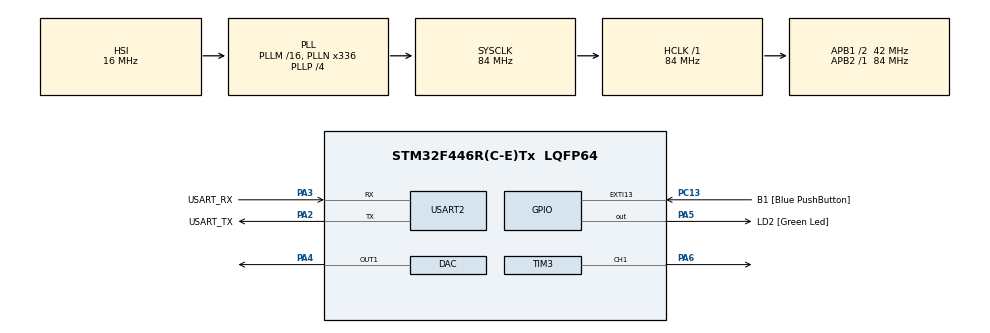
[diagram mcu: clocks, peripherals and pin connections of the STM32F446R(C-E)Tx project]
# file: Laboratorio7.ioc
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DAC.DAC_Trigger=DAC_TRIGGER_T6_TRGO
Dma.DAC1.0.Direction=DMA_MEMORY_TO_PERIPH
Dma.DAC1.0.FIFOMode=DMA_FIFOMODE_DISABLE
Dma.DAC1.0.Instance=DMA1_Stream5
Dma.DAC1.0.MemDataAlignment=DMA_MDATAALIGN_BYTE
Dma.DAC1.0.MemInc=DMA_MINC_ENABLE
Dma.DAC1.0.Mode=DMA_CIRCULAR
Dma.DAC1.0.PeriphDataAlignment=DMA_PDATAALIGN_BYTE
Dma.DAC1.0.PeriphInc=DMA_PINC_DISABLE
Dma.DAC1.0.Priority=DMA_PRIORITY_LOW
Dma.Request0=DAC1
Mcu.Family=STM32F4
Mcu.Name=STM32F446R(C-E)Tx
Mcu.Package=LQFP64
NVIC.DMA1_Stream5_IRQn=true\:0\:0\:false\:false\:true\:false\:true\:true
NVIC.PriorityGroup=NVIC_PRIORITYGROUP_0
PA13.GPIO_Label=TMS
PA13.Signal=SYS_JTMS-SWDIO
PA14.GPIO_Label=TCK
PA14.Signal=SYS_JTCK-SWCLK
PA2.GPIO_Label=USART_TX
PA2.Mode=Asynchronous
PA2.Signal=USART2_TX
PA3.GPIO_Label=USART_RX
PA3.Mode=Asynchronous
PA3.Signal=USART2_RX
PA4.Signal=COMP_DAC1_group
PA5.GPIO_Label=LD2 [Green Led]
PA5.Signal=GPIO_Output
PA6.Signal=S_TIM3_CH1
PB3.GPIO_Label=SWO
PB3.Signal=SYS_JTDO-SWO
PC13.GPIO_Label=B1 [Blue PushButton]
PC13.GPIO_ModeDefaultEXTI=GPIO_MODE_IT_FALLING
PC13.Signal=GPXTI13
PC14-OSC32_IN.Signal=RCC_OSC32_IN
PC15-OSC32_OUT.Signal=RCC_OSC32_OUT
PH0-OSC_IN.Signal=RCC_OSC_IN
PH1-OSC_OUT.Signal=RCC_OSC_OUT
ProjectManager.HeapSize=0x200
ProjectManager.StackSize=0x400
ProjectManager.TargetToolchain=STM32CubeIDE
RCC.AHBFreq_Value=84000000
RCC.APB1CLKDivider=RCC_HCLK_DIV2
RCC.APB1Freq_Value=42000000
RCC.APB1TimFreq_Value=84000000
RCC.APB2Freq_Value=84000000
RCC.APB2TimFreq_Value=84000000
RCC.CortexFreq_Value=84000000
RCC.FLatency-AdvancedSettings=FLASH_LATENCY_2
RCC.HCLKFreq_Value=84000000
RCC.HSE_VALUE=8000000
RCC.HSI_VALUE=16000000
RCC.LSE_VALUE=32768
RCC.PLLN=336
RCC.PLLP=RCC_PLLP_DIV4
RCC.SYSCLKFreq_VALUE=84000000
RCC.SYSCLKSource=RCC_SYSCLKSOURCE_PLLCLK
RCC.USBFreq_Value=168000000
RCC.VCOOutputFreq_Value=336000000
SH.COMP_DAC1_group.0=DAC_OUT1,DAC_OUT1
SH.S_TIM3_CH1.0=TIM3_CH1,PWM Generation1 CH1
TIM3.AutoReloadPreload=TIM_AUTORELOAD_PRELOAD_ENABLE
TIM3.Channel-PWM\ Generation1\ CH1=TIM_CHANNEL_1
TIM3.Period=999
TIM3.Prescaler=83
TIM3.Pulse-PWM\ Generation1\ CH1=500
TIM6.Period=999
TIM6.TIM_MasterOutputTrigger=TIM_TRGO_UPDATE
USART2.VirtualMode=VM_ASYNC
VP_TIM3_VS_ClockSourceINT.Mode=Internal
VP_TIM6_VS_ClockSourceINT.Mode=Enable_Timer
board=NUCLEO-F446RE

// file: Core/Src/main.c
/* USER CODE BEGIN Header */
/**
  ******************************************************************************
  * @file           : main.c
  * @brief          : Main program body
  ******************************************************************************
  * @attention
  *
  * Copyright (c) 2026 STMicroelectronics.
  * All rights reserved.
  *
  * This software is licensed under terms that can be found in the LICENSE file
  * in the root directory of this software component.
  * If no LICENSE file comes with this software, it is provided AS-IS.
  *
  ******************************************************************************
  */
/* USER CODE END Header */
#include "main.h"

/* USER CODE BEGIN Includes */
#include <stdio.h>
#include <string.h>
/* USER CODE END Includes */

/* USER CODE BEGIN PTD */
typedef struct
{
    uint16_t frequency_hz;  /* 0 significa silencio */
    uint16_t duration_ms;
} note_t;
/* USER CODE END PTD */

DAC_HandleTypeDef hdac;
DMA_HandleTypeDef hdma_dac1;

TIM_HandleTypeDef htim3;
TIM_HandleTypeDef htim6;

UART_HandleTypeDef huart2;

void SystemClock_Config(void);
static void MX_GPIO_Init(void);
static void MX_DMA_Init(void);
static void MX_TIM3_Init(void);
static void MX_USART2_UART_Init(void);
static void MX_DAC_Init(void);
static void MX_TIM6_Init(void);
/* USER CODE BEGIN PFP */
static void UART_Print(const char *msg);
static void Show_Menu(void);
static uint8_t UART_ReadCommand(uint32_t timeout_ms);
static void PWM_SetFrequency(uint16_t freq_hz);
static void PWM_Stop(void);
static void Play_Note(uint16_t freq_hz, uint16_t duration_ms);
static void Play_ImperialMarch(void);
static void DAC_SetFrequency(uint16_t freq_hz);
static void DAC_Silence(void);
static void DAC_Play_Note(uint16_t freq_hz, uint16_t duration_ms);
static void Play_HesAPirate(void);
/* USER CODE END PFP */

/* USER CODE BEGIN 0 */
#define TIM3_COUNTER_CLOCK_HZ  1000000U

/* Frecuencias de las notas musicales en Hz */
#define NOTE_F4    349U
#define NOTE_FS4   370U
#define NOTE_GS4   415U
#define NOTE_A4    440U
#define NOTE_AS4   466U
#define NOTE_C5    523U
#define NOTE_CS5   554U
#define NOTE_E5    659U
#define NOTE_F5    698U
#define NOTE_REST  0U

#define AUDIO1_TOTAL_MS  10000U

static const note_t imperial_march[] =
{
    {NOTE_A4,   500}, {NOTE_A4,   500}, {NOTE_A4,   500},
    {NOTE_F4,   350}, {NOTE_REST,  50}, {NOTE_C5,   150},
    {NOTE_A4,   500}, {NOTE_F4,   350}, {NOTE_REST,  50},
    {NOTE_C5,   150}, {NOTE_A4,   650},

    {NOTE_REST, 100},

    {NOTE_E5,   500}, {NOTE_E5,   500}, {NOTE_E5,   500},
    {NOTE_F5,   350}, {NOTE_REST,  50}, {NOTE_C5,   150},
    {NOTE_GS4,  500}, {NOTE_F4,   350}, {NOTE_REST,  50},
    {NOTE_C5,   150}, {NOTE_A4,   650},

    {NOTE_REST, 200}
};

#define IMPERIAL_MARCH_LEN \
    (sizeof(imperial_march) / sizeof(imperial_march[0]))

static void UART_Print(const char *msg)
{
    HAL_UART_Transmit(
        &huart2,
        (uint8_t *)msg,
        (uint16_t)strlen(msg),
        HAL_MAX_DELAY
    );
}

static void Show_Menu(void)
{
    UART_Print(
        "\r\n"
        "=========================================\r\n"
        "   Laboratorio 7 \r\n"
        "=========================================\r\n"
        " [1] Reproducir Cancion 1 \r\n"
    	" [2] Reproducir Cancion 2 \r\n"
        "-----------------------------------------\r\n"
        " Ingrese un comando y presione ENTER\r\n"
        "=========================================\r\n"
        "> "
    );
}

static uint8_t UART_ReadCommand(uint32_t timeout_ms)
{
    uint8_t rx = 0;

    if (HAL_UART_Receive(&huart2, &rx, 1, timeout_ms) == HAL_OK)
    {
        return rx;
    }

    return 0;
}

static void PWM_Stop(void)
{
    HAL_TIM_PWM_Stop(&htim3, TIM_CHANNEL_1);
}

static void PWM_SetFrequency(uint16_t freq_hz)
{
    uint32_t arr;

    if (freq_hz == NOTE_REST)
    {
        PWM_Stop();
        return;
    }

    arr = (TIM3_COUNTER_CLOCK_HZ / freq_hz) - 1U;

    __HAL_TIM_SET_AUTORELOAD(&htim3, arr);
    __HAL_TIM_SET_COMPARE(
        &htim3,
        TIM_CHANNEL_1,
        (arr + 1U) / 2U
    );
    __HAL_TIM_SET_COUNTER(&htim3, 0U);

    HAL_TIM_PWM_Start(&htim3, TIM_CHANNEL_1);
}

static void Play_Note(uint16_t freq_hz, uint16_t duration_ms)
{
    PWM_SetFrequency(freq_hz);
    HAL_Delay(duration_ms);
}

static void Play_ImperialMarch(void)
{
    uint32_t start;
    uint32_t idx = 0;

    UART_Print(
        "\r\nReproduciendo Audio 1 (Imperial March)...\r\n"
    );

    start = HAL_GetTick();

    while ((HAL_GetTick() - start) < AUDIO1_TOTAL_MS)
    {
        Play_Note(
            imperial_march[idx].frequency_hz,
            imperial_march[idx].duration_ms
        );

        idx = (idx + 1U) % IMPERIAL_MARCH_LEN;
    }

    PWM_Stop();

    UART_Print("Reproduccion finalizada.\r\n");
}
/* ---------- Audio 2: He's a Pirate (DAC por DDS) ---------- */

static const uint8_t sine_wave_lut[32] = {
    128, 153, 177, 199, 218, 234, 245, 253, 255, 253, 245, 234, 218, 199, 177, 153,
    128, 103, 79, 57, 38, 22, 11, 3, 1, 3, 11, 22, 38, 57, 79, 103
};
#define SINE_LUT_SIZE  32U

/* Reloj de TIM6: mismo APB1 x2 que TIM3 en este proyecto -> 84 MHz.
 * Si cambias SystemClock_Config(), recalcula este valor. */
#define TIM6_CLOCK_HZ   84000000UL

static uint8_t dac_playing = 0;

#define NOTE_B4   494U
#define NOTE_C5b  523U
#define NOTE_D5   587U
#define NOTE_E5   659U
#define NOTE_FS5  740U
#define NOTE_G5   784U
#define NOTE_A5   880U

#define AUDIO2_TOTAL_MS  10000U

static const note_t hes_a_pirate[] = {
    {NOTE_E5,   180}, {NOTE_G5,   180}, {NOTE_A5,   360},
    {NOTE_REST,  60},

    {NOTE_A5,   180}, {NOTE_G5,   180}, {NOTE_FS5,  360},
    {NOTE_E5,   180}, {NOTE_D5,   180}, {NOTE_E5,   360},
    {NOTE_REST,  60},

    {NOTE_FS5,  180}, {NOTE_A5,   180}, {NOTE_G5,   360},
    {NOTE_FS5,  180}, {NOTE_E5,   180}, {NOTE_D5,   360},
    {NOTE_REST,  60},

    {NOTE_E5,   180}, {NOTE_G5,   180}, {NOTE_A5,   360},
    {NOTE_B4,   180}, {NOTE_D5,   180}, {NOTE_E5,   360},
    {NOTE_REST, 120},

    {NOTE_FS5,  180}, {NOTE_G5,   180}, {NOTE_A5,   360},
    {NOTE_G5,   180}, {NOTE_FS5,  180}, {NOTE_E5,   360},
    {NOTE_D5,   180}, {NOTE_E5,   180}, {NOTE_FS5,  360},
    {NOTE_REST, 120}
};
#define HES_A_PIRATE_LEN (sizeof(hes_a_pirate) / sizeof(hes_a_pirate[0]))

static void DAC_SetFrequency(uint16_t freq_hz)
{
    uint32_t update_rate = (uint32_t)freq_hz * SINE_LUT_SIZE;
    uint32_t arr = (TIM6_CLOCK_HZ / update_rate) - 1U;

    __HAL_TIM_SET_AUTORELOAD(&htim6, arr);
    __HAL_TIM_SET_COUNTER(&htim6, 0U);

    if (!dac_playing) {
        HAL_TIM_Base_Start(&htim6);
        HAL_DAC_Start_DMA(&hdac, DAC_CHANNEL_1, (uint32_t *)sine_wave_lut,
                           SINE_LUT_SIZE, DAC_ALIGN_8B_R);
        dac_playing = 1;
    }
}

static void DAC_Silence(void)
{
    if (dac_playing) {
        HAL_DAC_Stop_DMA(&hdac, DAC_CHANNEL_1);
        HAL_TIM_Base_Stop(&htim6);
        dac_playing = 0;
    }
    HAL_DAC_SetValue(&hdac, DAC_CHANNEL_1, DAC_ALIGN_8B_R, 128);
    HAL_DAC_Start(&hdac, DAC_CHANNEL_1);
}

static void DAC_Play_Note(uint16_t freq_hz, uint16_t duration_ms)
{
    if (freq_hz == 0) {
        DAC_Silence();
    } else {
        DAC_SetFrequency(freq_hz);
    }
    HAL_Delay(duration_ms);
}

static void Play_HesAPirate(void)
{
    UART_Print("\r\nReproduciendo Audio 2 (He's a Pirate)...\r\n");
    uint32_t start = HAL_GetTick();
    uint32_t idx = 0;

    while ((HAL_GetTick() - start) < AUDIO2_TOTAL_MS) {
        DAC_Play_Note(hes_a_pirate[idx].frequency_hz, hes_a_pirate[idx].duration_ms);
        idx = (idx + 1) % HES_A_PIRATE_LEN;
    }
    DAC_Silence();
    HAL_DAC_Stop(&hdac, DAC_CHANNEL_1);
    UART_Print("Reproduccion finalizada.\r\n");
}
/* USER CODE END 0 */

int main(void)
{

  /* MCU Configuration--------------------------------------------------------*/

  /* Reset of all peripherals, Initializes the Flash interface and the Systick. */
  HAL_Init();

  /* Configure the system clock */
  SystemClock_Config();

  /* Initialize all configured peripherals */
  MX_GPIO_Init();
  MX_TIM3_Init();
  MX_USART2_UART_Init();
  MX_DMA_Init();
  MX_DAC_Init();
  MX_TIM6_Init();
  /* USER CODE BEGIN 2 */
  PWM_Stop();
  Show_Menu();
  /* USER CODE END 2 */

  /* Infinite loop */
  /* USER CODE BEGIN WHILE */
  while (1)
  {
	  uint8_t cmd = UART_ReadCommand(20);

	      if (cmd == '1')
	      {
	          Play_ImperialMarch();
	          Show_Menu();
	      }
	      else if (cmd == '2')
	      {
	          Play_HesAPirate();
	          Show_Menu();
	      }
	      else if ((cmd != 0) && (cmd != '\r') && (cmd != '\n'))
	      {
	          UART_Print("\r\nComando no valido.\r\n");
	          Show_Menu();
	      }

    /* USER CODE END WHILE */

  }
}

void SystemClock_Config(void)
{
  RCC_OscInitTypeDef RCC_OscInitStruct = {0};
  RCC_ClkInitTypeDef RCC_ClkInitStruct = {0};

  /** Configure the main internal regulator output voltage
  */
  __HAL_RCC_PWR_CLK_ENABLE();
  __HAL_PWR_VOLTAGESCALING_CONFIG(PWR_REGULATOR_VOLTAGE_SCALE3);

  /** Initializes the RCC Oscillators according to the specified parameters
  * in the RCC_OscInitTypeDef structure.
  */
  RCC_OscInitStruct.OscillatorType = RCC_OSCILLATORTYPE_HSI;
  RCC_OscInitStruct.HSIState = RCC_HSI_ON;
  RCC_OscInitStruct.HSICalibrationValue = RCC_HSICALIBRATION_DEFAULT;
  RCC_OscInitStruct.PLL.PLLState = RCC_PLL_ON;
  RCC_OscInitStruct.PLL.PLLSource = RCC_PLLSOURCE_HSI;
  RCC_OscInitStruct.PLL.PLLM = 16;
  RCC_OscInitStruct.PLL.PLLN = 336;
  RCC_OscInitStruct.PLL.PLLP = RCC_PLLP_DIV4;
  RCC_OscInitStruct.PLL.PLLQ = 2;
  RCC_OscInitStruct.PLL.PLLR = 2;
  if (HAL_RCC_OscConfig(&RCC_OscInitStruct) != HAL_OK)
  {
    Error_Handler();
  }

  /** Initializes the CPU, AHB and APB buses clocks
  */
  RCC_ClkInitStruct.ClockType = RCC_CLOCKTYPE_HCLK|RCC_CLOCKTYPE_SYSCLK
                              |RCC_CLOCKTYPE_PCLK1|RCC_CLOCKTYPE_PCLK2;
  RCC_ClkInitStruct.SYSCLKSource = RCC_SYSCLKSOURCE_PLLCLK;
  RCC_ClkInitStruct.AHBCLKDivider = RCC_SYSCLK_DIV1;
  RCC_ClkInitStruct.APB1CLKDivider = RCC_HCLK_DIV2;
  RCC_ClkInitStruct.APB2CLKDivider = RCC_HCLK_DIV1;

  if (HAL_RCC_ClockConfig(&RCC_ClkInitStruct, FLASH_LATENCY_2) != HAL_OK)
  {
    Error_Handler();
  }
}

static void MX_DAC_Init(void)
{

  DAC_ChannelConfTypeDef sConfig = {0};

  /** DAC Initialization
  */
  hdac.Instance = DAC;
  if (HAL_DAC_Init(&hdac) != HAL_OK)
  {
    Error_Handler();
  }

  /** DAC channel OUT1 config
  */
  sConfig.DAC_Trigger = DAC_TRIGGER_T6_TRGO;
  sConfig.DAC_OutputBuffer = DAC_OUTPUTBUFFER_ENABLE;
  if (HAL_DAC_ConfigChannel(&hdac, &sConfig, DAC_CHANNEL_1) != HAL_OK)
  {
    Error_Handler();
  }

}

static void MX_TIM3_Init(void)
{

  TIM_ClockConfigTypeDef sClockSourceConfig = {0};
  TIM_MasterConfigTypeDef sMasterConfig = {0};
  TIM_OC_InitTypeDef sConfigOC = {0};

  htim3.Instance = TIM3;
  htim3.Init.Prescaler = 83;
  htim3.Init.CounterMode = TIM_COUNTERMODE_UP;
  htim3.Init.Period = 999;
  htim3.Init.ClockDivision = TIM_CLOCKDIVISION_DIV1;
  htim3.Init.AutoReloadPreload = TIM_AUTORELOAD_PRELOAD_ENABLE;
  if (HAL_TIM_Base_Init(&htim3) != HAL_OK)
  {
    Error_Handler();
  }
  sClockSourceConfig.ClockSource = TIM_CLOCKSOURCE_INTERNAL;
  if (HAL_TIM_ConfigClockSource(&htim3, &sClockSourceConfig) != HAL_OK)
  {
    Error_Handler();
  }
  if (HAL_TIM_PWM_Init(&htim3) != HAL_OK)
  {
    Error_Handler();
  }
  sMasterConfig.MasterOutputTrigger = TIM_TRGO_RESET;
  sMasterConfig.MasterSlaveMode = TIM_MASTERSLAVEMODE_DISABLE;
  if (HAL_TIMEx_MasterConfigSynchronization(&htim3, &sMasterConfig) != HAL_OK)
  {
    Error_Handler();
  }
  sConfigOC.OCMode = TIM_OCMODE_PWM1;
  sConfigOC.Pulse = 500;
  sConfigOC.OCPolarity = TIM_OCPOLARITY_HIGH;
  sConfigOC.OCFastMode = TIM_OCFAST_DISABLE;
  if (HAL_TIM_PWM_ConfigChannel(&htim3, &sConfigOC, TIM_CHANNEL_1) != HAL_OK)
  {
    Error_Handler();
  }
  HAL_TIM_MspPostInit(&htim3);

}

static void MX_TIM6_Init(void)
{

  TIM_MasterConfigTypeDef sMasterConfig = {0};

  htim6.Instance = TIM6;
  htim6.Init.Prescaler = 0;
  htim6.Init.CounterMode = TIM_COUNTERMODE_UP;
  htim6.Init.Period = 999;
  htim6.Init.AutoReloadPreload = TIM_AUTORELOAD_PRELOAD_DISABLE;
  if (HAL_TIM_Base_Init(&htim6) != HAL_OK)
  {
    Error_Handler();
  }
  sMasterConfig.MasterOutputTrigger = TIM_TRGO_UPDATE;
  sMasterConfig.MasterSlaveMode = TIM_MASTERSLAVEMODE_DISABLE;
  if (HAL_TIMEx_MasterConfigSynchronization(&htim6, &sMasterConfig) != HAL_OK)
  {
    Error_Handler();
  }

}

static void MX_USART2_UART_Init(void)
{

  huart2.Instance = USART2;
  huart2.Init.BaudRate = 115200;
  huart2.Init.WordLength = UART_WORDLENGTH_8B;
  huart2.Init.StopBits = UART_STOPBITS_1;
  huart2.Init.Parity = UART_PARITY_NONE;
  huart2.Init.Mode = UART_MODE_TX_RX;
  huart2.Init.HwFlowCtl = UART_HWCONTROL_NONE;
  huart2.Init.OverSampling = UART_OVERSAMPLING_16;
  if (HAL_UART_Init(&huart2) != HAL_OK)
  {
    Error_Handler();
  }

}

static void MX_DMA_Init(void)
{

  /* DMA controller clock enable */
  __HAL_RCC_DMA1_CLK_ENABLE();

  /* DMA interrupt init */
  /* DMA1_Stream5_IRQn interrupt configuration */
  HAL_NVIC_SetPriority(DMA1_Stream5_IRQn, 0, 0);
  HAL_NVIC_EnableIRQ(DMA1_Stream5_IRQn);

}

static void MX_GPIO_Init(void)
{
  GPIO_InitTypeDef GPIO_InitStruct = {0};

  /* GPIO Ports Clock Enable */
  __HAL_RCC_GPIOC_CLK_ENABLE();
  __HAL_RCC_GPIOH_CLK_ENABLE();
  __HAL_RCC_GPIOA_CLK_ENABLE();
  __HAL_RCC_GPIOB_CLK_ENABLE();

  /*Configure GPIO pin Output Level */
  HAL_GPIO_WritePin(LD2_GPIO_Port, LD2_Pin, GPIO_PIN_RESET);

  /*Configure GPIO pin : B1_Pin */
  GPIO_InitStruct.Pin = B1_Pin;
  GPIO_InitStruct.Mode = GPIO_MODE_IT_FALLING;
  GPIO_InitStruct.Pull = GPIO_NOPULL;
  HAL_GPIO_Init(B1_GPIO_Port, &GPIO_InitStruct);

  /*Configure GPIO pin : LD2_Pin */
  GPIO_InitStruct.Pin = LD2_Pin;
  GPIO_InitStruct.Mode = GPIO_MODE_OUTPUT_PP;
  GPIO_InitStruct.Pull = GPIO_NOPULL;
  GPIO_InitStruct.Speed = GPIO_SPEED_FREQ_LOW;
  HAL_GPIO_Init(LD2_GPIO_Port, &GPIO_InitStruct);

}

void Error_Handler(void)
{
  __disable_irq();
  while (1)
  {
  }
}
